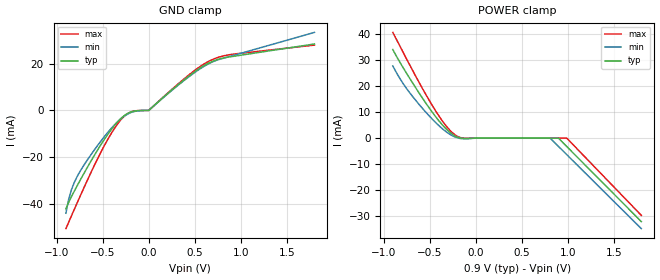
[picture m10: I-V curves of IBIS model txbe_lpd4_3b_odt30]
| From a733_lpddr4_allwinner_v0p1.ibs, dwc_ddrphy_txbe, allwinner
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[Model] txbe_lpd4_3b_odt30
Model_type   Input
Polarity   Non-Inverting
Enable   Active-High
C_comp   906.439fF   903.646fF   907.686fF
C_comp_pullup   258.338fF   257.595fF   261.767fF
C_comp_pulldown 473.640fF   470.410fF   487.431fF
Vinh = 427.000mV
Vinl = 307.000mV
[Model Spec]
D_overshoot_ampl_h 0.1 NA   NA
D_overshoot_ampl_l 0.1 NA   NA
D_overshoot_area_l 300.000m NA   NA
D_overshoot_area_h 300.000m NA   NA
[Receiver Thresholds]
Vth = 183.000mV
Vth_min = 177.000mV
Vth_max = 195.000mV
Vinh_ac = 60.000mV
Vinh_dc = 60.000mV
Vinl_ac = -60.000mV
Vinl_dc = -60.000mV
Tslew_ac = 5.000ns
Threshold_sensitivity = 0.5
Reference_supply Power_clamp_ref
[Temperature Range]   25.000   125.000   -40.000
[Voltage Range]   900.000mV   810.000mV   990.000mV
[GND Clamp Reference]   0.00V   0.00V   0.00V
[C Comp Corner]
| variable   typ   min   max
C_comp 903.646fF   907.686fF   906.439fF
C_comp_pullup 261.767fF   257.595fF   258.338fF
C_comp_pulldown 473.640fF   487.431fF   470.410fF
[POWER Clamp Reference]   900.000mV   810.000mV   990.000mV
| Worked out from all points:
|   GND clamp passes 1 mA (typ) near -0.21 V on its own axis
|   POWER clamp passes 1 mA (typ) near -0.23 V on its own axis
[GND Clamp]
-900mV    -42.14mA   -44.06mA   -50.67mA
-870mV    -39.38mA   -38.05mA   -47.89mA
-840mV    -36.95mA   -33.95mA   -45.16mA
-730mV    -28.81mA   -25.04mA   -35.36mA
-560mV    -17.21mA   -15.24mA   -21.03mA
-420mV    -8.876mA   -8.248mA   -10.69mA
-310mV    -3.734mA   -3.816mA   -4.353mA
-230mV    -1.295mA   -1.577mA   -1.386mA
0V        0A         0A         0A
460mV     15.41mA    15.1mA     15.95mA
740mV     21.7mA     21.51mA    22.53mA
1.8V      28.45mA    33.42mA    27.98mA
[Power Clamp]
-900mV    34.12mA    27.8mA     40.72mA
-830mV    29.63mA    23.35mA    35.92mA
-750mV    24.94mA    19.07mA    30.44mA
-560mV    14.47mA    10.74mA    17.98mA
-360mV    5.04mA     3.568mA    6.546mA
-280mV    2.22mA     1.474mA    3.038mA
-220mV    760uA      396uA      1.152mA
-110mV    -97.5uA    -242uA     -54uA
810mV     -4.802uA   -33.17uA   -1.258uA
900mV     -5.576uA   -3.198mA   -1.485uA
990mV     -3.22mA    -6.363mA   -1.716uA
1.8V      -32.15mA   -34.85mA   -29.72mA
